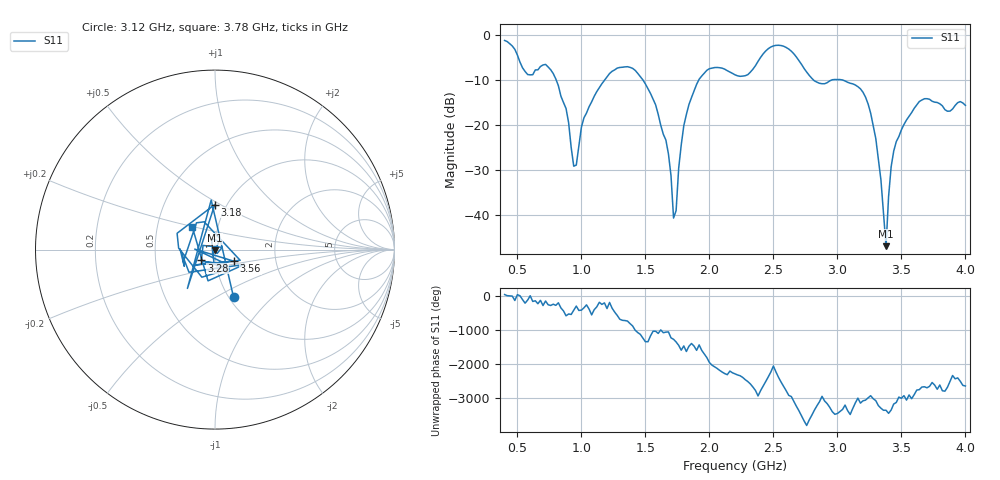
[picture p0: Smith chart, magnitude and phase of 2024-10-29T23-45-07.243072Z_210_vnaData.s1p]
!Created with skrf (http://scikit-rf.org).
# Hz S RI R 50.0
!freq ReS11 ImS11
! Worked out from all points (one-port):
!   181 points, 400 MHz to 4 GHz, reference 50 ohm
!   lowest |S11| = -47.0 dB at 3.38 GHz (marker M1), VSWR 1.01, Z = 49.8 - j0.385 ohm
!   |S11| at or under -10 dB: 802.6 MHz to 1.183 GHz (380.8 MHz wide, 38.3 % of centre); 1.48 GHz to 1.918 GHz (437.9 MHz wide, 25.8 % of centre); 3.033 GHz to end of sweep (the widest 3 of 4)
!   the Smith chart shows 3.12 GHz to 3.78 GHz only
!   S11 on the Smith chart (normalised r, x): 3.12 GHz: 1.05, -0.61; 3.18 GHz: 0.88, +0.47; 3.28 GHz: 0.85, -0.10; 3.56 GHz: 1.22, -0.16; 3.78 GHz: 0.75, +0.19
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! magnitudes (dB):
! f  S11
! 400 MHz  -1.2
! 580 MHz  -8.8
! 740 MHz  -7.1
! 860 MHz  -15.1
! 960 MHz  -29.0
! 1.02 GHz  -18.4
! 1.3 GHz  -7.3
! 1.58 GHz  -15.6
! 1.68 GHz  -26.5
! 1.72 GHz  -40.8
! 1.74 GHz  -39.1
! 1.76 GHz  -29.7
! 1.8 GHz  -20.2
! 1.92 GHz  -9.9
! 2.2 GHz  -8.9
! 2.66 GHz  -4.2
! 2.84 GHz  -10.5
! 3.1 GHz  -10.8
! 3.12 GHz  -10.9
! 3.18 GHz  -12.0
! 3.28 GHz  -20.2
! 3.34 GHz  -32.2
! 3.38 GHz  -47.0
! 3.4 GHz  -35.9
! 3.44 GHz  -25.9
! 3.56 GHz  -18.1
! 3.78 GHz  -15.0
! 4 GHz  -15.7
